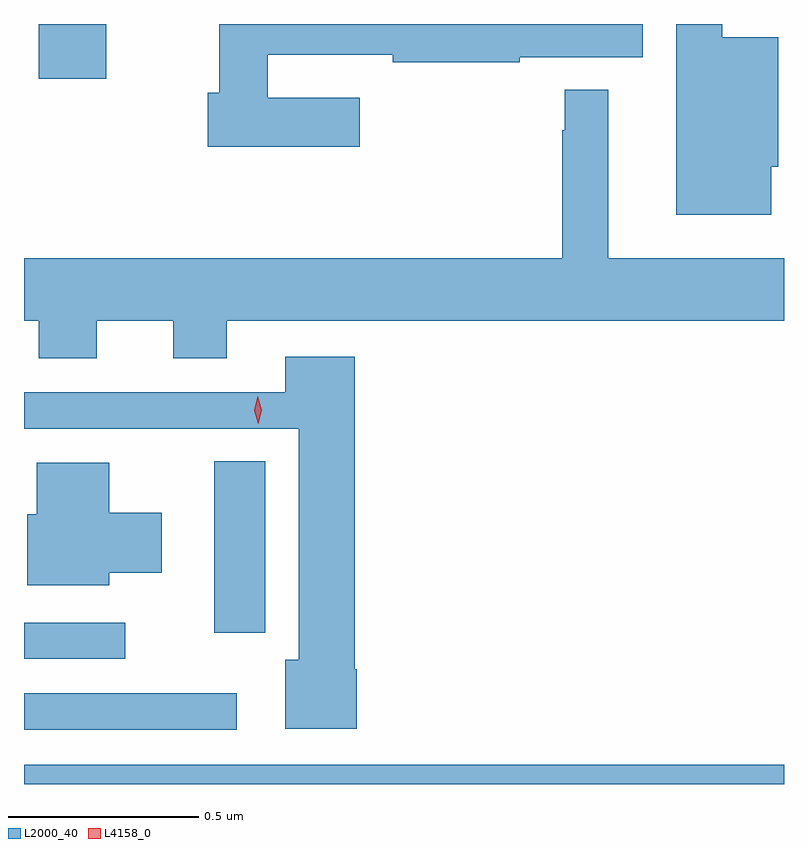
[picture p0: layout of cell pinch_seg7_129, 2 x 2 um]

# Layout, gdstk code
import gdstk
lib = gdstk.Library(unit=1e-6, precision=1e-09)
def R(c, l, rs):  # rectangles x0, y0, x1, y1
    for r in rs: c.add(gdstk.rectangle(r[:2], r[2:], *l))
def P(c, l, *ps):  # polygons
    for p in ps: c.add(gdstk.Polygon(p, *l))
L2000_40 = (2000, 40)
L4158_0 = (4158, 0)

pinch_seg7_129 = lib.new_cell('pinch_seg7_129')
R(pinch_seg7_129, L2000_40, [(970.043,1006.057,972.043,1006.108), (970.043,1006.2,970.603,1006.296), (970.043,1006.386,970.309,1006.482), (970.544,1006.455,970.678,1006.907), (970.082,1007.913,970.26,1008.057)])
P(pinch_seg7_129, L2000_40, [(970.927,1007.863),(970.685,1007.863),(970.685,1007.976),(971.014,1007.976),(971.014,1007.956),(971.348,1007.956),(971.348,1007.969),(971.671,1007.969),(971.671,1008.057),(970.557,1008.057),(970.557,1007.876),(970.526,1007.876),(970.526,1007.734),(970.927,1007.734)],
  [(972.01,1007.682),(972.028,1007.682),(972.028,1008.022),(971.881,1008.022),(971.881,1008.057),(971.759,1008.057),(971.759,1007.555),(972.01,1007.555)],
  [(970.234,1007.276),(970.436,1007.276),(970.436,1007.177),(970.576,1007.177),(970.576,1007.276),(972.043,1007.276),(972.043,1007.44),(971.581,1007.44),(971.581,1007.884),(971.466,1007.884),(971.466,1007.777),(971.46,1007.777),(971.46,1007.44),(970.043,1007.44),(970.043,1007.276),(970.082,1007.276),(970.082,1007.177),(970.234,1007.177)],
  [(970.918,1006.359),(970.913,1006.359),(970.913,1007.182),(970.73,1007.182),(970.73,1007.088),(970.043,1007.088),(970.043,1006.992),(970.766,1006.992),(970.766,1006.384),(970.73,1006.384),(970.73,1006.202),(970.918,1006.202)],
  [(970.267,1006.613),(970.405,1006.613),(970.405,1006.771),(970.267,1006.771),(970.267,1006.903),(970.076,1006.903),(970.076,1006.767),(970.052,1006.767),(970.052,1006.58),(970.267,1006.58)])
P(pinch_seg7_129, L4158_0, [(970.66,1007.005),(970.66,1007.005),(970.649,1007.041),(970.658,1007.077),(970.658,1007.077),(970.658,1007.077),(970.669,1007.041),(970.66,1007.005)])

lib.write_gds('pinch_seg7_129.gds')
